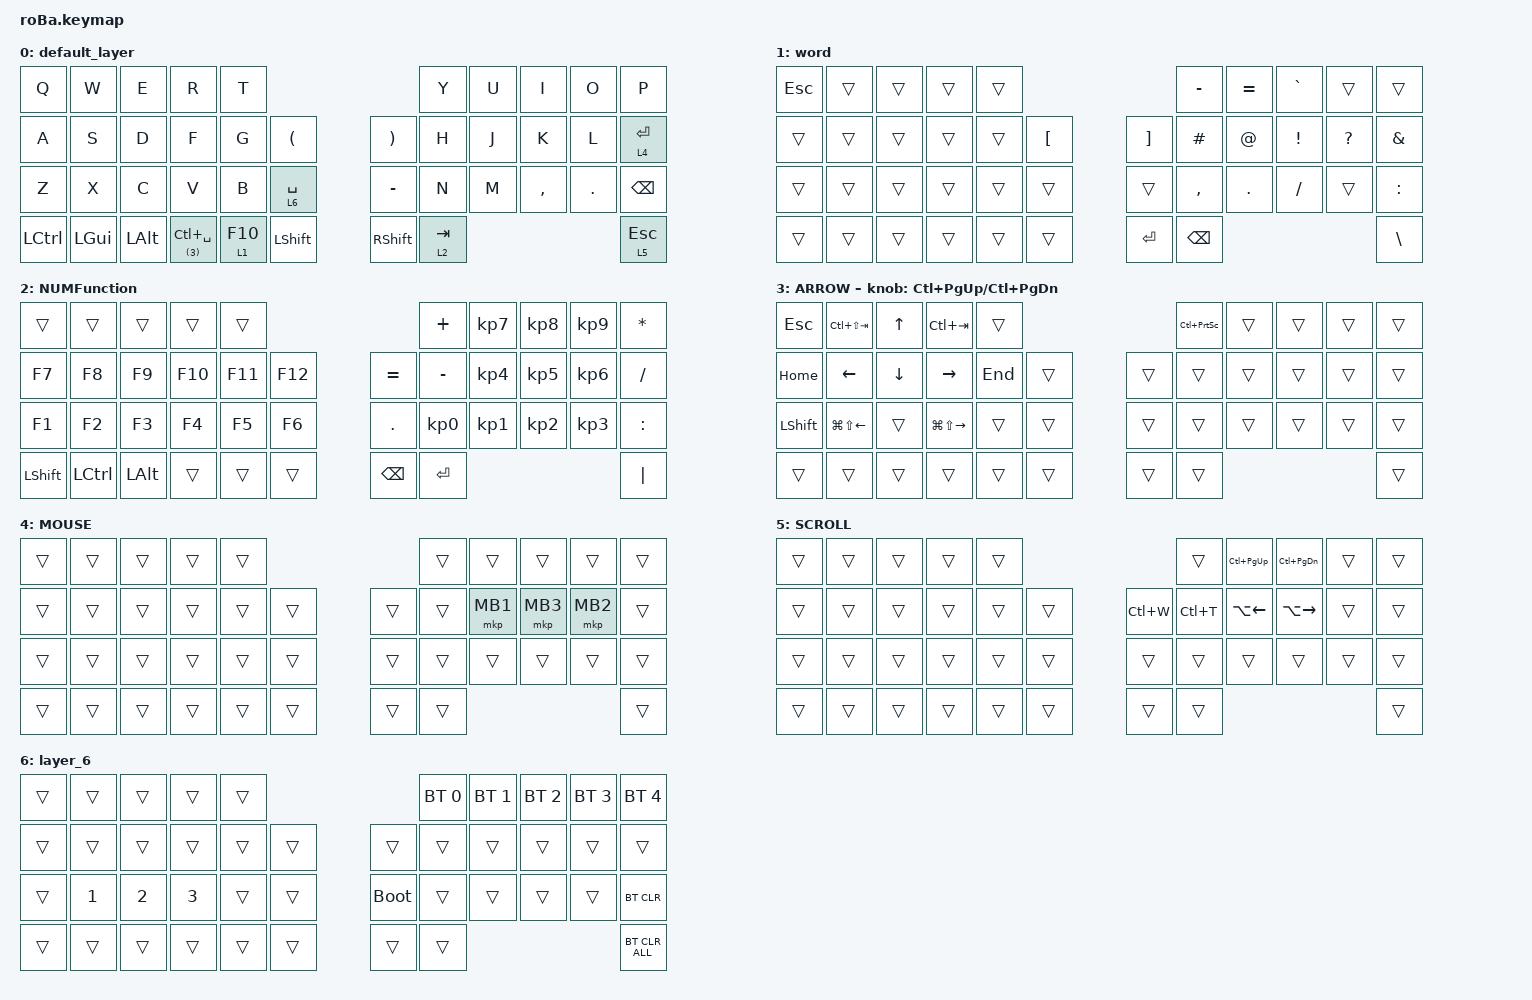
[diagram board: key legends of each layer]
#include <behaviors.dtsi>
#include <dt-bindings/zmk/bt.h>
#include <dt-bindings/zmk/keys.h>
#include <dt-bindings/zmk/pointing.h>

&mt {
    flavor = "balanced";
    quick-tap-ms = <0>;
};

&trackball {
    automouse-layer = <4>;
    scroll-layers = <5>;

    // arrows {
    //     layers = <3>;
    //     bindings =
    //         <&kp RIGHT_ARROW>,
    //         <&kp LEFT_ARROW>,
    //         <&kp UP_ARROW>,
    //         <&kp DOWN_ARROW>;
    //     tick = <10>;
    //     wait-ms = <5>;
    //     tap-ms = <5>;
    // };
};

/ {
    combos {
        compatible = "zmk,combos";

        tab {
            bindings = <&kp TAB>;
            key-positions = <11 12>;
        };

        shift_tab {
            bindings = <&kp LS(TAB)>;
            key-positions = <12 13>;
        };

        muhennkann {
            bindings = <&to_layer_0 INT_MUHENKAN>;
            key-positions = <11 10>;
        };

        double_quotation {
            bindings = <&kp DOUBLE_QUOTES>;
            key-positions = <20 21>;
        };

        eq {
            bindings = <&kp EQUAL>;
            key-positions = <24 25>;
        };

        at_ {
            bindings = <&kp AT>;
            key-positions = <18 19>;
        };
    };

    macros {
        to_layer_0: to_layer_0 {
            compatible = "zmk,behavior-macro-one-param";
            #binding-cells = <1>;
            bindings = <&to 0 &macro_param_1to1 &kp MACRO_PLACEHOLDER>;
            label = "TO_LAYER_0";
        };
    };

    behaviors {
        lt_to_layer_0: lt_to_layer_0 {
            compatible = "zmk,behavior-hold-tap";
            label = "LAYER_TAP_TO_0";
            bindings = <&mo>, <&to_layer_0>;

            #binding-cells = <2>;
            tapping-term-ms = <200>;
        };
    };

    keymap {
        compatible = "zmk,keymap";

        default_layer {
            bindings = <
&kp Q             &kp W         &kp E         &kp R                         &kp T                                                         &kp Y      &kp U  &kp I      &kp O    &kp P
&kp A             &kp S         &kp D         &kp F                         &kp G      &kp LEFT_PARENTHESIS        &kp RIGHT_PARENTHESIS  &kp H      &kp J  &kp K      &kp L    &lt_to_layer_0 4 ENTER
&kp Z             &kp X         &kp C         &kp V                         &kp B      &lt_to_layer_0 6 SPACE      &kp MINUS              &kp N      &kp M  &kp COMMA  &kp DOT  &kp BACKSPACE
&kp LEFT_CONTROL  &kp LEFT_GUI  &kp LEFT_ALT  &lt_to_layer_0 (3) LC(SPACE)  &lt 1 F10  &kp LEFT_SHIFT              &kp RIGHT_SHIFT        &lt 2 TAB                             &lt_to_layer_0 5 ESCAPE
            >;
        };

        word {
            bindings = <
&kp ESC  &trans  &trans  &trans  &trans                                           &kp MINUS      &kp EQUAL    &kp GRAVE  &trans        &trans
&trans   &trans  &trans  &trans  &trans  &kp LEFT_BRACKET      &kp RIGHT_BRACKET  &kp HASH       &kp AT_SIGN  &kp EXCL   &kp QUESTION  &kp AMPERSAND
&trans   &trans  &trans  &trans  &trans  &trans                &trans             &kp COMMA      &kp PERIOD   &kp SLASH  &trans        &kp COLON
&trans   &trans  &trans  &trans  &trans  &trans                &kp ENTER          &kp BACKSPACE                                        &kp BACKSLASH
            >;
        };

        NUMFunction {
            bindings = <
&trans          &trans     &trans        &trans   &trans                               &kp PLUS         &kp KP_NUMBER_7  &kp KP_NUMBER_8  &kp KP_NUMBER_9  &kp ASTERISK
&kp F7          &kp F8     &kp F9        &kp F10  &kp F11  &kp F12      &kp EQUAL      &kp MINUS        &kp KP_NUMBER_4  &kp KP_NUMBER_5  &kp KP_NUMBER_6  &kp SLASH
&kp F1          &kp F2     &kp F3        &kp F4   &kp F5   &kp F6       &kp DOT        &kp KP_NUMBER_0  &kp KP_NUMBER_1  &kp KP_NUMBER_2  &kp KP_NUMBER_3  &kp COLON
&kp LEFT_SHIFT  &kp LCTRL  &kp LEFT_ALT  &trans   &trans   &trans       &kp BACKSPACE  &kp ENTER                                                           &kp PIPE
            >;
        };

        ARROW {
            bindings = <
&kp ESCAPE      &kp LC(LS(TAB))         &kp UP_ARROW    &kp LC(TAB)              &trans                       &kp LC(PRINTSCREEN)  &trans  &trans  &trans  &trans
&kp HOME        &kp LEFT_ARROW          &kp DOWN_ARROW  &kp RIGHT_ARROW          &kp END  &trans      &trans  &trans               &trans  &trans  &trans  &trans
&kp LEFT_SHIFT  &kp LG(LS(LEFT_ARROW))  &trans          &kp LG(LS(RIGHT_ARROW))  &trans   &trans      &trans  &trans               &trans  &trans  &trans  &trans
&trans          &trans                  &trans          &trans                   &trans   &trans      &trans  &trans                                       &trans
            >;

            sensor-bindings = <&inc_dec_kp LC(PAGE_UP) LC(PAGE_DOWN)>;
        };

        MOUSE {
            bindings = <
&trans  &trans  &trans  &trans  &trans                      &trans  &trans    &trans    &trans    &trans
&trans  &trans  &trans  &trans  &trans  &trans      &trans  &trans  &mkp MB1  &mkp MB3  &mkp MB2  &trans
&trans  &trans  &trans  &trans  &trans  &trans      &trans  &trans  &trans    &trans    &trans    &trans
&trans  &trans  &trans  &trans  &trans  &trans      &trans  &trans                                &trans
            >;
        };

        SCROLL {
            bindings = <
&trans  &trans  &trans  &trans  &trans                         &trans     &kp LC(PAGE_UP)  &kp LC(PAGE_DOWN)  &trans  &trans
&trans  &trans  &trans  &trans  &trans  &trans      &kp LC(W)  &kp LC(T)  &kp LA(LEFT)     &kp LA(RIGHT)      &trans  &trans
&trans  &trans  &trans  &trans  &trans  &trans      &trans     &trans     &trans           &trans             &trans  &trans
&trans  &trans  &trans  &trans  &trans  &trans      &trans     &trans                                                 &trans
            >;
        };

        layer_6 {
            bindings = <
&trans  &trans        &trans        &trans        &trans                           &bt BT_SEL 0  &bt BT_SEL 1  &bt BT_SEL 2  &bt BT_SEL 3  &bt BT_SEL 4
&trans  &trans        &trans        &trans        &trans  &trans      &trans       &trans        &trans        &trans        &trans        &trans
&trans  &kp NUMBER_1  &kp NUMBER_2  &kp NUMBER_3  &trans  &trans      &bootloader  &trans        &trans        &trans        &trans        &bt BT_CLR
&trans  &trans        &trans        &trans        &trans  &trans      &trans       &trans                                                  &bt BT_CLR_ALL
            >;
        };
    };
};
